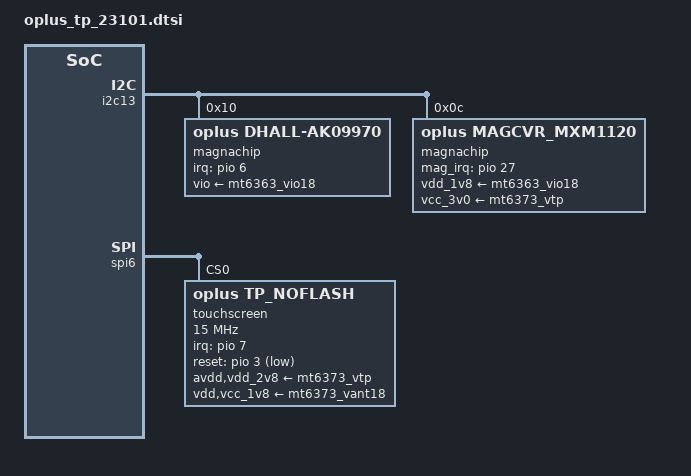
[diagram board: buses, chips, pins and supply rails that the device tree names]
&i2c13 {
        status = "ok";
        /delete-node/ magnachip@0D;
        /delete-node/ magnachip@0C;
        /delete-node/ ist8801@19;
        /delete-node/ ist8801@18;

        magnachip@10 {
                compatible = "oplus,dhall-ak09970";
                reg = <0x10>;
                vio-supply = <&mt6363_vio18>;
                vio_volt = <1800000>;
                magnachip,init-interval = <200>;
                interrups = <6 0x02>;
                threeaxis_hall_support;
                new_posupdate_support;
                exception_upload_support;
                health_monitor_support;
                dhall,irq-gpio = <&pio 6 0x2008>;
                pinctrl-names = "hall_interrupt_input";
                pinctrl-0 = <&hall_interrupt_input>;

                interf_stable_limit = <700 700 700>;
                interf_judege_limit = <4000 2000>;
                interf_up_tolen = <3700 3700 3000 3000>;
                interf_mid_tolen = <3000 3000 3000 3000>;
                interf_down_tolen = <3000 3000 3700 3700>;
                position_judge_tolen = <4000 5000>;
                default_position_xtolen = <3000 3000>;
        };

        magnachip@11 {
                compatible = "oplus,magcvr_mxm1120";
                reg = <0x0C>;
                vdd_1v8-supply = <&mt6363_vio18>;
                vcc_3v0-supply = <&mt6373_vtp>;
                vdd_3v0_volt = <3100000>;
                interrups = <27 0x02>;
                mag_irq_gpio = <&pio 27 0x2002>;
                pinctrl-names = "default";
                pinctrl-0 = <&magcvr_interrupt_input>;
                // para config
                magcvr_detect_step = <50>;
                magcvr_farmax_th = <50>;
                magcvr_far_threshold = <150>;
                magcvr_far_noise_threshold = <125>;
        };
};

&pio {
    //#ifdef OPLUS_FEATURE_TRI_KEY
        hall_interrupt_input: interrupt_input {
                pins_cmd_dat {
                        pinmux = <PINMUX_GPIO6__FUNC_GPIO6>;
                        bias-pull-up;
                        input-enable;
                        drive-strength = <2>;
                };
        };
        magcvr_interrupt_input: mag_cvr_interrupt_input {
                pins_cmd_dat {
                        pinmux = <PINMUX_GPIO27__FUNC_GPIO27>;
                        bias-pull-up;
                        input-enable;
                        drive-strength = <2>;
                };
        };
};

&spi6 {
	status = "okay";
	#address-cells = <1>;
	#size-cells = <0>;

	goodix@0{
		status = "disabled";
	};

	touchscreen@0{
		compatible = "oplus,tp_noflash";
		reg = <0x0>;
		chip-num = <2>;
		chip-name = "S3910", "FT3683G";
		status = "okay";
		spi-max-frequency = <15000000>;
		/* Interrupt && Irq-gpio */
		interrupt-parent = <&pio>;
		interrupts = <7 0x2008>;

		/* Power Config */
		/* enable2v8_gpio  = <&pio 164 0x1>; */
		/* synaptics,avdd-gpio = <&pio 186 0x1>; */
		avdd-supply = <&mt6373_vtp>;
		synaptics,avdd-name = "avdd";
		vdd-supply  = <&mt6373_vant18>;
		synaptics,vdd-name = "vdd";

		/* Other HW Resource */

		synaptics,irq-gpio = <&pio 7 0x2008>;
		synaptics,reset-gpio = <&pio 3 0x1>;
		//cs-gpio = <&pio 110 0x00>;


		irq-gpio = <&pio 7 0x2008>;
		pinctrl-names = "default", "ts_spi_active", "ts_spi_suspend";
		pinctrl-0 = <&ctp_oplus_pins_default>;
		pinctrl-1 = <&ctp_oplus_int_active &ctp_oplus_reset_active &ctp_oplus_spi_active>;
		pinctrl-2 = <&ctp_oplus_int_suspend &ctp_oplus_reset_suspend &ctp_oplus_spi_suspend>;

		touchpanel,max-num-support = <10>;
		touchpanel,tx-rx-num = <17 38>;
		touchpanel,panel-coords = <20096 44160>;
		touchpanel,display-coords = <1256 2760>;
		vid_len = <2>;
		firmware_name = "0xAC17800", "0xAC17801", "0xAC17801";
		panel_type = < 7 7>; /* TM*/
		platform_support_project = <23101 23102 23205>;
		platform_support_project_dir = <23101 23101 23101>;
		platform_support_project_commandline = "panel_ac178_p_b_a0014_dsi_cmd", "panel_ac178_p_7_a0014_dsi_cmd";

		synaptics,power-on-state = <1>;
		synaptics,power-delay-ms = <200>;
		synaptics,irq-on-state = <0>;
		synaptics,reset-on-state = <0>;
		synaptics,reset-active-ms = <10>;
		synaptics,reset-delay-ms = <80>;
		synaptics,spi-mode = <0>;
		synaptics,spi-byte-delay-us = <0>;
		synaptics,spi-block-delay-us = <0>;

		/* LBP Power Config */
		vdd_2v8-supply = <&mt6373_vtp>;
		vdd_2v8_volt = <3000000>;
		vcc_1v8-supply = <&mt6373_vant18>;
		vcc_1v8_volt = <1800000>;


		//touchpanel,elimination-range = <20 200 200>;
		//touchpanel,int-mode = <1>; /*0: interrupt and disable, 1:interrupt and not disable*/


		prevention,curved_screen_V2;
		prevention,grip_disable_level = <6>;
		prevention,updelay_time_ms = <30>;
		prevention,makeup_cnt_weight = <4 1 2 2 2>;
		prevention,large_corner_range = <1920 4800>;
		prevention,large_corner_judge_condition = <500 300 1600 6 6>;
		prevention,trx_reject_condition = <8 7 7>;
		prevention,trx_strict_reject_condition = <7 6 6>;
		prevention,large_judge_time_ms = <500 50 30>;
		prevention,large_exit_condition = <15 12 2>;
		prevention,single_channel_width = <256 256>;
		prevention,normal_tap_condition = <10 300>;
		prevention,long_edge_condition = <230 100 180 80>;
		prevention,long_strict_edge_condition = <170 80>;
		prevention,long_fingerhold_condition = <50 6 4 4>;
		prevention,short_edge_condition = <230 100 180 80>;
		prevention,short_strict_edge_condition = <160 60>;
		prevention,large_strict_exit_condition = <5 5>;
		prevention,top_corner_config = <800 2400 720>;
		prevention,edge_swipe_config = <480 1600>;

		prevention,curved_screen_V4;
		prevention,long_eliminate_point_type = <2 17280 13280 420 38592 300 1>;
		prevention,long_fingerhold_condition2 = <1120 3200 0 0>;
		prevention,top_corner_config2 =<3 80 420 2400 0>;
		prevention,hor_long_top_corner_config =<480 3200 0 0>;
		prevention,top_middle_config =<17280 1600 1600 0>;
		prevention,corner_eliminate_point_type =<0 1920 3200 1>;
		prevention,finger_hold_differ_size = <1 0 720 300>;
		prevention,finger_hold_max_rx_exit_distance = <5 700 3400>;
		prevention,max_rx_exit_distance = <1 5 18 700 2800>;
		prevention,dynamic_finger_hold_exit_distance = <1 580 3400 780>;
		prevention,edge_sliding_matched_support = <1 250 3 0>;

		//grip v4.2 reclining mode
		prevention,reclining_mode_support = <1>;
		prevention,long_eliminate_point_type_recli = <2 17280 13280 420 38592 200 1>;
		prevention,finger_hold_differ_size_recli = <1 0 720 300>;
		prevention,finger_hold_max_rx_exit_distance_recli = <5 700 3400>;
		prevention,max_rx_exit_distance_recli = <1 5 90 700 2800>;
		prevention,dynamic_finger_hold_exit_distance_recli = <1 580 3400 780>;
		prevention,edge_sliding_matched_support_recli = <1 200 3 0>;
		prevention,long_edge_condition_recli = <120 100 150 100>;

		/* SW Support Feature Control */
		//esd_handle_support;
		//register-is-16bit;
		//wireless_charger_support;
		headset_pump_support;
		//fw_edge_limit_support;

		health_monitor_v2_support;
		black_gesture_support;
		charger_pump_support;
		lcd_tp_refresh_support;
		fw_update_app_support;
		smart_gesture_support;
		game_switch_support;
		report_flow_unlock_support;
		kernel_grip_support;
		fingerprint_underscreen_support;
		pressure_report_support;
		touchpanel,single-optimized-time = <8>;
		//report_rate_white_list_support;
		auto_test_force_pass_support;
		snr_read_support;
		//high_resolution_support;
		screenoff_fingerprint_info_support;
		irq_need_dev_resume_ok;
		sportify_aod_gesture_support;
		black_gesture_indep_support;
		thermal_detect_support;
		exception_upload_support;
		tp_data_record_support;
		palm_to_sleep_support;
		stats_upload_support;

		is_mtk_platform = "mt6991";

		/*
		 *Virtual Key Config:
		 *1:touchpanel,button-type: <virtualkey_type  supportted_button-map>
		 *virtualkey_type:
		 *Type 1: using board_properties
		 *Type 2: using same IC (button zone&& touch zone are seprate)
		 *Type 3: using diffrent IC (button zone&& touch zone are seprate)
		 *Type 4: No need of virtual key process
		 *supportted_button-map:select|menu|home|back
		 *
		 *2:touchpanel,button-map
		 *type (X1,Y1)(X2,Y2)(X3,Y3)(Width_X,Hight_Y)--Only when button-type is 0
		 */
		touchpanel,button-type = <4>;
		touchpanel.button-TRx = <0 0>;

		FT3681 {
			switch_report_rate;
			report_rate_default = <60>;
			report_rate_game_value = <0x02>;
		};

		FT3683G_PANEL7 {
			interrupts = <7 0x2002>;
			irq-gpio = <&pio 7 0x2002>;
			reset-gpio = <&pio 3 0x1>;

			touchpanel,max-num-support = <10>;
			touchpanel,tx-rx-num = <17 38>;
			touchpanel,panel-coords = <20096 44160>;
			touchpanel,display-coords = <1256 2760>;
			touchpanel,touchmajor-limit = <128 216>;
			//touchpanel,elimination-range = <20 200 200>;
			//touchpanel,int-mode = <1>; /*0: interrupt and disable, 1:interrupt and not disable*/
			touchpanel,smooth-level = <0 110 115 120 140 155>;
			touchpanel,smooth-level-charging = <0 110 115 120 140 155>;
			touchpanel,sensitive-level = <0 19 16 12 11 10>;
			touchpanel,tp-index = <0>;
			touchpanel,high-frame-rate-time = <60>;

			prevention,curved_screen_V2;
			prevention,grip_disable_level = <6>;
			prevention,updelay_time_ms = <30>;
			prevention,makeup_cnt_weight = <4 1 2 2 2>;
			prevention,large_corner_range = <1920 4800>;
			prevention,large_corner_judge_condition = <500 300 1600 6 6>;
			prevention,trx_reject_condition = <8 7 7>;
			prevention,trx_strict_reject_condition = <7 6 6>;
			prevention,large_judge_time_ms = <500 50 30>;
			prevention,large_exit_condition = <15 12 2>;
			prevention,single_channel_width = <256 256>;
			prevention,normal_tap_condition = <10 300>;
			prevention,long_edge_condition = <230 100 180 80>;
			prevention,long_strict_edge_condition = <170 80>;
			prevention,long_fingerhold_condition = <50 6 4 4>;
			prevention,short_edge_condition = <230 100 180 80>;
			prevention,short_strict_edge_condition = <160 60>;
			prevention,large_strict_exit_condition = <5 5>;
			prevention,top_corner_config = <800 2400 720>;
			prevention,edge_swipe_config = <480 1600>;

			prevention,curved_screen_V4;
			prevention,long_eliminate_point_type = <2 17280 13280 420 38592 300 1>;
			prevention,long_fingerhold_condition2 = <1120 3200 0 0>;
			prevention,top_corner_config2 =<3 80 420 2400 0>;
			prevention,hor_long_top_corner_config =<480 3200 0 0>;
			prevention,top_middle_config =<17280 1600 1600 0>;
			prevention,corner_eliminate_point_type =<0 1920 3200 1>;
			prevention,finger_hold_differ_size = <1 0 720 300>;
			prevention,finger_hold_max_rx_exit_distance = <5 700 3400>;
			prevention,max_rx_exit_distance = <1 5 18 700 2800>;
			prevention,dynamic_finger_hold_exit_distance = <1 580 3400 780>;
			prevention,edge_sliding_matched_support = <1 250 3 0>;

			//grip v4.2 reclining mode
			prevention,reclining_mode_support = <1>;
			prevention,long_eliminate_point_type_recli = <2 17280 13280 420 38592 200 1>;
			prevention,finger_hold_differ_size_recli = <1 0 720 300>;
			prevention,finger_hold_max_rx_exit_distance_recli = <5 700 3400>;
			prevention,max_rx_exit_distance_recli = <1 5 90 700 2800>;
			prevention,dynamic_finger_hold_exit_distance_recli = <1 580 3400 780>;
			prevention,edge_sliding_matched_support_recli = <1 200 3 0>;
			prevention,long_edge_condition_recli = <120 100 150 100>;

			tp_data_record_support;
		};
	};
};

/*add for  TP*/
&pio {
	ctp_oplus_pins_default: pins_default {
	};
	ctp_oplus_int_active: int1_active {
		pins_cmd_dat {
			pinmux = <PINMUX_GPIO7__FUNC_GPIO7>;
			bias-disable;
			input-enable;
		};
	};
	ctp_oplus_reset_active: reset1_active {
		pins_cmd_dat {
			pinmux = <PINMUX_GPIO3__FUNC_GPIO3>;
			output-high;
		};
	};
	ctp_oplus_int_suspend: int1_suspend {
		pins_cmd_dat {
			pinmux = <PINMUX_GPIO7__FUNC_GPIO7>;
			output-low;
		};
	};
	ctp_oplus_reset_suspend: reset1_suspend {
		pins_cmd_dat {
			pinmux = <PINMUX_GPIO3__FUNC_GPIO3>;
			output-low;
		};
	};
	ctp_oplus_spi_active: spi_active {
		pins_cmd_dat {
			pinmux = <PINMUX_GPIO82__FUNC_SPI6_B_CSB>,
				<PINMUX_GPIO83__FUNC_SPI6_B_MO>,
				<PINMUX_GPIO81__FUNC_SPI6_B_CLK>,
				<PINMUX_GPIO84__FUNC_SPI6_B_MI>;
			bias-disable;
			drive-strength = <2>;
		};
	};
	ctp_oplus_spi_suspend: spi_suspend {
		pins_cmd_dat {
			pinmux = < PINMUX_GPIO84__FUNC_GPIO84>,
				< PINMUX_GPIO83__FUNC_GPIO83>,
				<PINMUX_GPIO82__FUNC_GPIO82>,
				<PINMUX_GPIO81__FUNC_GPIO81>;
			bias-disable;
			output-low;
			drive-strength = <4>;
		};
	};
};
